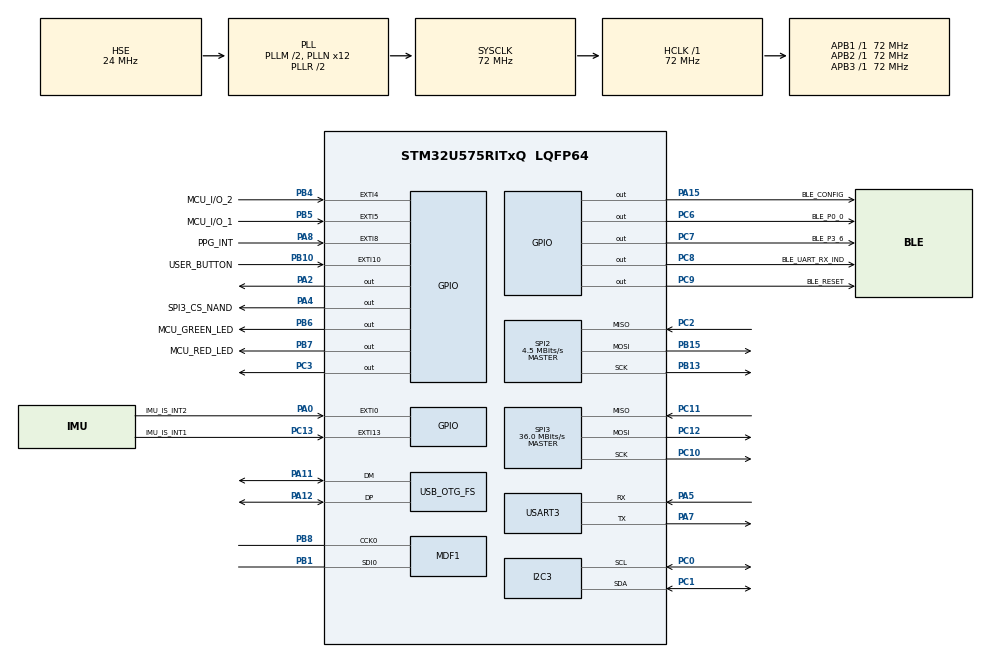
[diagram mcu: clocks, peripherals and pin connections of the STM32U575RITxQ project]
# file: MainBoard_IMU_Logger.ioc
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CORTEX_M33_NS.userName=CORTEX_M33
I2C3.Timing=0x10808DD3
MDF1.MDF_COMPARAM_ActivationClockTrigger=ENABLE
MDF1.MDF_COMPARAM_ActivationOutputClock=ENABLE
MDF1.MDF_COMPARAM_Divider=5
MDF1.MDF_COMPARAM_Pins=MDF_OUTPUT_CLOCK_ALL
MDF1.MDF_DFLT0_AcquisitionMode=MDF_MODE_SYNC_CONT
MDF1.MDF_DFLT0_CIC_Mode=MDF_ONE_FILTER_SINC5
MDF1.MDF_DFLT0_Decimation=16
MDF1.MDF_DFLT0_DiscardSamples=255
MDF1.MDF_DFLT0_Gain=1
MDF1.MDF_DFLT0_HighPassFilterActivation=ENABLE
MDF1.MDF_DFLT0_ReshapeFilterActivation=ENABLE
MDF1.MDF_SITF0_Mode_Display=MDF_SITF_NORMAL_SPI_MODE
MDF1.MDF_SITF0_Threshold=31
Mcu.Family=STM32U5
Mcu.Name=STM32U575RITxQ
Mcu.Package=LQFP64
NVIC.EXTI0_IRQn=true\:0\:0\:false\:false\:true\:true\:true\:true
NVIC.EXTI10_IRQn=true\:0\:0\:false\:false\:true\:true\:true\:true
NVIC.EXTI13_IRQn=true\:0\:0\:false\:false\:true\:true\:true\:true
NVIC.EXTI4_IRQn=true\:0\:0\:false\:false\:true\:true\:true\:true
NVIC.EXTI5_IRQn=true\:0\:0\:false\:false\:true\:true\:true\:true
NVIC.EXTI8_IRQn=true\:0\:0\:false\:false\:true\:true\:true\:true
NVIC.MDF1_FLT0_IRQn=true\:0\:0\:false\:false\:true\:true\:true\:true
NVIC.OTG_FS_IRQn=true\:0\:0\:false\:false\:true\:true\:true\:true
NVIC.PriorityGroup=NVIC_PRIORITYGROUP_4
NVIC.SPI2_IRQn=true\:0\:0\:false\:false\:true\:true\:true\:true
NVIC.SPI3_IRQn=true\:0\:0\:false\:false\:true\:true\:true\:true
NVIC.TIM2_IRQn=true\:2\:0\:true\:false\:true\:true\:true\:true
NVIC.USART3_IRQn=true\:0\:0\:false\:false\:true\:true\:true\:true
PA0.GPIO_Label=IMU_IS_INT2
PA0.Signal=GPXTI0
PA11.GPIO_Speed=GPIO_SPEED_FREQ_VERY_HIGH
PA11.Mode=Device_Only
PA11.Signal=USB_OTG_FS_DM
PA12.GPIO_Speed=GPIO_SPEED_FREQ_VERY_HIGH
PA12.Mode=Device_Only
PA12.Signal=USB_OTG_FS_DP
PA13\ (JTMS/SWDIO).Mode=Trace_Asynchronous_SW
PA13\ (JTMS/SWDIO).Signal=DEBUG_JTMS-SWDIO
PA14\ (JTCK/SWCLK).Mode=Trace_Asynchronous_SW
PA14\ (JTCK/SWCLK).Signal=DEBUG_JTCK-SWCLK
PA15\ (JTDI).GPIO_Label=BLE_CONFIG
PA15\ (JTDI).PinState=GPIO_PIN_SET
PA15\ (JTDI).Signal=GPIO_Output
PA2.Signal=GPIO_Output
PA4.GPIO_Label=SPI3_CS_NAND
PA4.Signal=GPIO_Output
PA5.Mode=Asynchronous
PA5.Signal=USART3_RX
PA7.Mode=Asynchronous
PA7.Signal=USART3_TX
PA8.GPIO_Label=PPG_INT
PA8.GPIO_ModeDefaultEXTI=GPIO_MODE_IT_FALLING
PA8.GPIO_PuPd=GPIO_PULLUP
PA8.Signal=GPXTI8
PA9.Signal=USB_OTG_FS_VBUS
PB1.GPIO_Speed=GPIO_SPEED_FREQ_VERY_HIGH
PB1.Mode=MOD_MDF_SITF0_CCK0
PB1.Signal=MDF1_SDI0
PB10.GPIO_Label=USER_BUTTON
PB10.GPIO_ModeDefaultEXTI=GPIO_MODE_IT_RISING_FALLING
PB10.GPIO_PuPd=GPIO_PULLDOWN
PB10.Signal=GPXTI10
PB13.Mode=Full_Duplex_Master
PB13.Signal=SPI2_SCK
PB15.Mode=Full_Duplex_Master
PB15.Signal=SPI2_MOSI
PB3\ (JTDO/TRACESWO).Mode=Trace_Asynchronous_SW
PB3\ (JTDO/TRACESWO).Signal=DEBUG_JTDO-SWO
PB4\ (NJTRST).GPIO_Label=MCU_I/O_2
PB4\ (NJTRST).Signal=GPXTI4
PB5.GPIO_Label=MCU_I/O_1
PB5.Signal=GPXTI5
PB6.GPIO_Label=MCU_GREEN_LED
PB6.Signal=GPIO_Output
PB7.GPIO_Label=MCU_RED_LED
PB7.Signal=GPIO_Output
PB8.GPIO_FM8=SYSCFG_FASTMODEPLUS_PB8
PB8.GPIO_Speed=GPIO_SPEED_FREQ_VERY_HIGH
PB8.Mode=MOD_MDF_CCK0
PB8.Signal=MDF1_CCK0
PC0.Mode=I2C
PC0.Signal=I2C3_SCL
PC1.Mode=I2C
PC1.Signal=I2C3_SDA
PC10.Mode=Full_Duplex_Master
PC10.Signal=SPI3_SCK
PC11.Mode=Full_Duplex_Master
PC11.Signal=SPI3_MISO
PC12.Mode=Full_Duplex_Master
PC12.Signal=SPI3_MOSI
PC13.GPIO_Label=IMU_IS_INT1
PC13.Signal=GPXTI13
PC14-OSC32_IN\ (PC14).Mode=LSE-External-Oscillator
PC14-OSC32_IN\ (PC14).Signal=RCC_OSC32_IN
PC15-OSC32_OUT\ (PC15).Mode=LSE-External-Oscillator
PC15-OSC32_OUT\ (PC15).Signal=RCC_OSC32_OUT
PC2.Mode=Full_Duplex_Master
PC2.Signal=SPI2_MISO
PC3.Signal=GPIO_Output
PC6.GPIO_Label=BLE_P0_0
PC6.Signal=GPIO_Output
PC7.GPIO_Label=BLE_P3_6
PC7.Signal=GPIO_Output
PC8.GPIO_Label=BLE_UART_RX_IND
PC8.Signal=GPIO_Output
PC9.GPIO_Label=BLE_RESET
PC9.Signal=GPIO_Output
PH0-OSC_IN\ (PH0).Mode=HSE-External-Oscillator
PH0-OSC_IN\ (PH0).Signal=RCC_OSC_IN
PH1-OSC_OUT\ (PH1).Mode=HSE-External-Oscillator
PH1-OSC_OUT\ (PH1).Signal=RCC_OSC_OUT
ProjectManager.HeapSize=0x400
ProjectManager.StackSize=0x800
ProjectManager.TargetToolchain=CMake
RCC.ADCFreq_Value=16000000
RCC.AHBFreq_Value=72000000
RCC.APB1Freq_Value=72000000
RCC.APB1TimFreq_Value=72000000
RCC.APB2Freq_Value=72000000
RCC.APB2TimFreq_Value=72000000
RCC.APB3Freq_Value=72000000
RCC.CK48CLockSelection=RCC_CLK48CLKSOURCE_PLL1
RCC.CortexFreq_Value=72000000
RCC.EPOD_VALUE=24000000
RCC.HCLKFreq_Value=72000000
RCC.HSE_VALUE=24000000
RCC.HSI48_VALUE=48000000
RCC.HSI_VALUE=16000000
RCC.LSIDIV_VALUE=32000
RCC.MSIClockRange=RCC_MSIRANGE_0
RCC.MSI_VALUE=48000000
RCC.MdfClockSelection=RCC_MDF1CLKSOURCE_PLL3
RCC.PLL1Q=3
RCC.PLL2FRACN=0
RCC.PLL3FRACN=0
RCC.PLL3M=3
RCC.PLL3N=48
RCC.PLL3Q=25
RCC.PLL3Source=RCC_PLLSOURCE_HSE
RCC.PLLFRACN=0
RCC.PLLM=2
RCC.PLLN=12
RCC.PLLSourceVirtual=RCC_PLLSOURCE_HSE
RCC.SYSCLKFreq_VALUE=72000000
RCC.SYSCLKSource=RCC_SYSCLKSOURCE_PLLCLK
RCC.USBFreq_Value=48000000
RCC.VCOOutputFreq_Value=144000000
SPI2.BaudRatePrescaler=SPI_BAUDRATEPRESCALER_16
SPI2.CalculateBaudRate=4.5 MBits/s
SPI2.DataSize=SPI_DATASIZE_8BIT
SPI2.Direction=SPI_DIRECTION_2LINES
SPI2.Mode=SPI_MODE_MASTER
SPI2.VirtualType=VM_MASTER
SPI3.CalculateBaudRate=36.0 MBits/s
SPI3.Direction=SPI_DIRECTION_2LINES
SPI3.Mode=SPI_MODE_MASTER
SPI3.VirtualType=VM_MASTER
TIM2.PeriodNoDither=1000-1
TIM2.Prescaler=7200-1
USART3.VirtualMode-Asynchronous=VM_ASYNC
USB_OTG_FS.VirtualMode=Device_Only
VP_ICACHE_VS_ENABLE_ICACHE_MEMORY.Mode=Memoryregions
VP_LPBAMQUEUE_VS_QUEUE.Mode=QUEUEMODE
VP_LPBAM_VS_SIG1.Mode=SmartRun
VP_LPBAM_VS_SIG4.Mode=LPDMA1
VP_MDF1_VS_MDF_DFLT0.Mode=MOD_MDF_DFLT0
VP_MEMORYMAP_VS_MEMORYMAP.Mode=CurAppReg
VP_PWR_VS_SECSignals.Mode=Security/Privilege
VP_TIM2_VS_ClockSourceINT.Mode=Internal
board=custom

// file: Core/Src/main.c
/* USER CODE BEGIN Header */
/**
  ******************************************************************************
  * @file           : main.c
  * @brief          : Main application file for MainBoard_IMU_Logger project.
  ******************************************************************************
  * @functionality  : This firmware implements a complete Data Logger for the on board IMU.
  * @details        : The application operates using a State Machine triggered by a
  * single USER BUTTON. It performs three primary tasks:
  * 1. Real-time Acquisition: Reads Accelerometer/Gyroscope data
  * via I2C, synchronized by a TIM2 interrupt.
  * 2. Wireless Transmission: Sends data packets via Bluetooth Low Energy (BLE)
  * using the UART interface.
  * 3. Data Logging: Saves acquired data to NAND Flash memory.
  *
  * Saved data can be downloaded via a USB Virtual COM Port (VCP)
  * connection, also initiated by the USER BUTTON.
  *
  * @intended_use   : Starting template for Smart Wearables Course
  * exploring IMU interfacing, BLE communication, and memory management.
  ******************************************************************************
  */
/* USER CODE END Header */
#include "main.h"

/* USER CODE BEGIN Includes */
#include "string.h"
#include "stdio.h"
#include "../../USB_Device/App/usb_device.h"
#include "SPI.h"
#include "SPI_NAND.h"
#include "Memory_operations.h"
#include "led_driver.h"
#include "imu_driver.h"
#include "bluetooth.h"
#include "bio_sensors/app/bio_sensors_app.h"

/* USER CODE END Includes */

I2C_HandleTypeDef hi2c3;

MDF_HandleTypeDef MdfHandle0;
MDF_FilterConfigTypeDef MdfFilterConfig0;

SPI_HandleTypeDef hspi2;
SPI_HandleTypeDef hspi3;

TIM_HandleTypeDef htim2;

UART_HandleTypeDef huart3;

PCD_HandleTypeDef hpcd_USB_OTG_FS;

/* USER CODE BEGIN PV */

// --- State Machine ---
// The current state of the application. Initial state is IDLE.
static AppState current_state = STATE_IDLE;

// --- Global Flags and Variables ---
// Flag to indicate a USB connection event.
// Set to 1 when a USB connection is detected.
uint8_t usb_flag = 0;
uint8_t raw_accelerometer[6] = {0};
uint8_t raw_gyroscope[6] = {0};

/// ----- NAND FLASH variables ----- ///

uint8_t NAND_packet[4096] = {0};
uint16_t sample = 0;
uint16_t blocco_scritto = 0;
uint8_t pagina_scritta=0;
uint16_t b = 0;

read_address_t blocco;
column_address_t colonna = 0;

uint16_t bad_blocks[2048]={-1}; // bad blocks array for writing/reading
uint8_t bad_blocks2[2048]={0}; // bad blocks array for erasing

uint8_t data_letto[4096] = {0};
int exit_flag = 0;

// Timestamp variables //
Time_Struct timestamp;
uint16_t tim = 0;

/* USER CODE END PV */

void SystemClock_Config(void);
static void MX_GPIO_Init(void);
static void MX_ICACHE_Init(void);
static void MX_I2C3_Init(void);
static void MX_USART3_UART_Init(void);
static void MX_USB_OTG_FS_PCD_Init(void);
static void MX_MDF1_Init(void);
static void MX_TIM2_Init(void);
static void MX_SPI2_Init(void);
static void MX_SPI3_Init(void);

int main(void)
{

  /* MCU Configuration--------------------------------------------------------*/

  /* Reset of all peripherals, Initializes the Flash interface and the Systick. */
  HAL_Init();

  /* Configure the system clock */
  SystemClock_Config();

  /* Initialize all configured peripherals */
  MX_GPIO_Init();
  MX_ICACHE_Init();
  MX_I2C3_Init();
  MX_USART3_UART_Init();
  MX_USB_OTG_FS_PCD_Init();
  MX_MDF1_Init();
  MX_TIM2_Init();
  MX_SPI2_Init();
  MX_SPI3_Init();
  /* USER CODE BEGIN 2 */

  // Turn the RED LED on to indicate the start of the initialization process
  LED_On(LED_RED);

  // Initialize all hardware peripherals (ble, usb, nand flash, imu)
  BLE_Initialize();
  MX_USB_Device_Init();
  HAL_Delay(1000);

  spi_nand_init();
  find_bad_blocks(bad_blocks); // find bad_blocks and save them

  // Initializing all Bio sensors
  BioSensors_InitCpp();

  // Turn off the red LED to indicate that initialization is complete
  LED_Off(LED_RED);

  /* USER CODE END 2 */

  /* Infinite loop */
  while (1)
  {

    /* USER CODE BEGIN 3 */

    // Trying to update the Bio sensor data
    BioSensors_LoopCpp();

		//LED_Toggle(LED_GREEN);
		//HAL_Delay(1000);

	  switch(current_state)
	  {
	  	  case STATE_IDLE:
	  		// Check if a USB connection has been detected
	  		if(!usb_flag)
		    {
	  			//MX_USB_Device_Init();
		    }
	  		else
	  		{
			   // Transition to the USB_CONNECTED state
	  		   current_state = STATE_USB_CONNECTED;
			   // Green LED on upon USB Connection
			   LED_On(LED_GREEN);
		    }
	  		break;

	  	  case STATE_ACQUISITION:
	  		   // All data acquisition is handled by the timer interrupt

			break;

	  	  case STATE_USB_CONNECTED:
	  		break;

	  	  case STATE_DOWNLOAD:

	  		   // This state manages reading data blocks and sending them via USB.
	  		  // Once download is complete, the state returns to USB_CONNECTED.
	  		  // Read data packets from memory
	  		  read_memory_and_transmit();

			 current_state = STATE_USB_CONNECTED;
	  		 break;
	  }

  }
  /* USER CODE END 3 */
}

void SystemClock_Config(void)
{
  RCC_OscInitTypeDef RCC_OscInitStruct = {0};
  RCC_ClkInitTypeDef RCC_ClkInitStruct = {0};

  /** Configure the main internal regulator output voltage
  */
  if (HAL_PWREx_ControlVoltageScaling(PWR_REGULATOR_VOLTAGE_SCALE2) != HAL_OK)
  {
    Error_Handler();
  }

  /** Initializes the CPU, AHB and APB buses clocks
  */
  RCC_OscInitStruct.OscillatorType = RCC_OSCILLATORTYPE_HSE;
  RCC_OscInitStruct.HSEState = RCC_HSE_ON;
  RCC_OscInitStruct.PLL.PLLState = RCC_PLL_ON;
  RCC_OscInitStruct.PLL.PLLSource = RCC_PLLSOURCE_HSE;
  RCC_OscInitStruct.PLL.PLLMBOOST = RCC_PLLMBOOST_DIV2;
  RCC_OscInitStruct.PLL.PLLM = 2;
  RCC_OscInitStruct.PLL.PLLN = 12;
  RCC_OscInitStruct.PLL.PLLP = 2;
  RCC_OscInitStruct.PLL.PLLQ = 3;
  RCC_OscInitStruct.PLL.PLLR = 2;
  RCC_OscInitStruct.PLL.PLLRGE = RCC_PLLVCIRANGE_1;
  RCC_OscInitStruct.PLL.PLLFRACN = 0;
  if (HAL_RCC_OscConfig(&RCC_OscInitStruct) != HAL_OK)
  {
    Error_Handler();
  }

  /** Initializes the CPU, AHB and APB buses clocks
  */
  RCC_ClkInitStruct.ClockType = RCC_CLOCKTYPE_HCLK|RCC_CLOCKTYPE_SYSCLK
                              |RCC_CLOCKTYPE_PCLK1|RCC_CLOCKTYPE_PCLK2
                              |RCC_CLOCKTYPE_PCLK3;
  RCC_ClkInitStruct.SYSCLKSource = RCC_SYSCLKSOURCE_PLLCLK;
  RCC_ClkInitStruct.AHBCLKDivider = RCC_SYSCLK_DIV1;
  RCC_ClkInitStruct.APB1CLKDivider = RCC_HCLK_DIV1;
  RCC_ClkInitStruct.APB2CLKDivider = RCC_HCLK_DIV1;
  RCC_ClkInitStruct.APB3CLKDivider = RCC_HCLK_DIV1;

  if (HAL_RCC_ClockConfig(&RCC_ClkInitStruct, FLASH_LATENCY_2) != HAL_OK)
  {
    Error_Handler();
  }
}

static void MX_I2C3_Init(void)
{

  hi2c3.Instance = I2C3;
  hi2c3.Init.Timing = 0x10808DD3;
  hi2c3.Init.OwnAddress1 = 0;
  hi2c3.Init.AddressingMode = I2C_ADDRESSINGMODE_7BIT;
  hi2c3.Init.DualAddressMode = I2C_DUALADDRESS_DISABLE;
  hi2c3.Init.OwnAddress2 = 0;
  hi2c3.Init.OwnAddress2Masks = I2C_OA2_NOMASK;
  hi2c3.Init.GeneralCallMode = I2C_GENERALCALL_DISABLE;
  hi2c3.Init.NoStretchMode = I2C_NOSTRETCH_DISABLE;
  if (HAL_I2C_Init(&hi2c3) != HAL_OK)
  {
    Error_Handler();
  }

  /** Configure Analogue filter
  */
  if (HAL_I2CEx_ConfigAnalogFilter(&hi2c3, I2C_ANALOGFILTER_ENABLE) != HAL_OK)
  {
    Error_Handler();
  }

  /** Configure Digital filter
  */
  if (HAL_I2CEx_ConfigDigitalFilter(&hi2c3, 0) != HAL_OK)
  {
    Error_Handler();
  }

}

static void MX_ICACHE_Init(void)
{

}

static void MX_MDF1_Init(void)
{

  /**
    MdfHandle0 structure initialization and HAL_MDF_Init function call
  */
  MdfHandle0.Instance = MDF1_Filter0;
  MdfHandle0.Init.CommonParam.InterleavedFilters = 0;
  MdfHandle0.Init.CommonParam.ProcClockDivider = 1;
  MdfHandle0.Init.CommonParam.OutputClock.Activation = ENABLE;
  MdfHandle0.Init.CommonParam.OutputClock.Pins = MDF_OUTPUT_CLOCK_ALL;
  MdfHandle0.Init.CommonParam.OutputClock.Divider = 5;
  MdfHandle0.Init.CommonParam.OutputClock.Trigger.Activation = ENABLE;
  MdfHandle0.Init.CommonParam.OutputClock.Trigger.Source = MDF_CLOCK_TRIG_TRGO;
  MdfHandle0.Init.CommonParam.OutputClock.Trigger.Edge = MDF_CLOCK_TRIG_FALLING_EDGE;
  MdfHandle0.Init.SerialInterface.Activation = ENABLE;
  MdfHandle0.Init.SerialInterface.Mode = MDF_SITF_NORMAL_SPI_MODE;
  MdfHandle0.Init.SerialInterface.ClockSource = MDF_SITF_CCK0_SOURCE;
  MdfHandle0.Init.SerialInterface.Threshold = 31;
  MdfHandle0.Init.FilterBistream = MDF_BITSTREAM0_RISING;
  if (HAL_MDF_Init(&MdfHandle0) != HAL_OK)
  {
    Error_Handler();
  }

  /**
    MdfFilterConfig0, MdfOldConfig0 and/or MdfScdConfig0 structures initialization

    WARNING : only structures are filled, no specific init function call for filter
  */
  MdfFilterConfig0.DataSource = MDF_DATA_SOURCE_BSMX;
  MdfFilterConfig0.Delay = 0;
  MdfFilterConfig0.CicMode = MDF_ONE_FILTER_SINC5;
  MdfFilterConfig0.DecimationRatio = 16;
  MdfFilterConfig0.Offset = 0;
  MdfFilterConfig0.Gain = 1;
  MdfFilterConfig0.ReshapeFilter.Activation = ENABLE;
  MdfFilterConfig0.ReshapeFilter.DecimationRatio = MDF_RSF_DECIMATION_RATIO_4;
  MdfFilterConfig0.HighPassFilter.Activation = ENABLE;
  MdfFilterConfig0.HighPassFilter.CutOffFrequency = MDF_HPF_CUTOFF_0_000625FPCM;
  MdfFilterConfig0.Integrator.Activation = DISABLE;
  MdfFilterConfig0.SoundActivity.Activation = DISABLE;
  MdfFilterConfig0.AcquisitionMode = MDF_MODE_SYNC_CONT;
  MdfFilterConfig0.FifoThreshold = MDF_FIFO_THRESHOLD_NOT_EMPTY;
  MdfFilterConfig0.DiscardSamples = 255;
  MdfFilterConfig0.Trigger.Source = MDF_CLOCK_TRIG_TRGO;
  MdfFilterConfig0.Trigger.Edge = MDF_FILTER_TRIG_RISING_EDGE;

}

static void MX_SPI2_Init(void)
{

  SPI_AutonomousModeConfTypeDef HAL_SPI_AutonomousMode_Cfg_Struct = {0};

  /* SPI2 parameter configuration*/
  hspi2.Instance = SPI2;
  hspi2.Init.Mode = SPI_MODE_MASTER;
  hspi2.Init.Direction = SPI_DIRECTION_2LINES;
  hspi2.Init.DataSize = SPI_DATASIZE_8BIT;
  hspi2.Init.CLKPolarity = SPI_POLARITY_LOW;
  hspi2.Init.CLKPhase = SPI_PHASE_1EDGE;
  hspi2.Init.NSS = SPI_NSS_SOFT;
  hspi2.Init.BaudRatePrescaler = SPI_BAUDRATEPRESCALER_16;
  hspi2.Init.FirstBit = SPI_FIRSTBIT_MSB;
  hspi2.Init.TIMode = SPI_TIMODE_DISABLE;
  hspi2.Init.CRCCalculation = SPI_CRCCALCULATION_DISABLE;
  hspi2.Init.CRCPolynomial = 0x7;
  hspi2.Init.NSSPMode = SPI_NSS_PULSE_ENABLE;
  hspi2.Init.NSSPolarity = SPI_NSS_POLARITY_LOW;
  hspi2.Init.FifoThreshold = SPI_FIFO_THRESHOLD_01DATA;
  hspi2.Init.MasterSSIdleness = SPI_MASTER_SS_IDLENESS_00CYCLE;
  hspi2.Init.MasterInterDataIdleness = SPI_MASTER_INTERDATA_IDLENESS_00CYCLE;
  hspi2.Init.MasterReceiverAutoSusp = SPI_MASTER_RX_AUTOSUSP_DISABLE;
  hspi2.Init.MasterKeepIOState = SPI_MASTER_KEEP_IO_STATE_DISABLE;
  hspi2.Init.IOSwap = SPI_IO_SWAP_DISABLE;
  hspi2.Init.ReadyMasterManagement = SPI_RDY_MASTER_MANAGEMENT_INTERNALLY;
  hspi2.Init.ReadyPolarity = SPI_RDY_POLARITY_HIGH;
  if (HAL_SPI_Init(&hspi2) != HAL_OK)
  {
    Error_Handler();
  }
  HAL_SPI_AutonomousMode_Cfg_Struct.TriggerState = SPI_AUTO_MODE_DISABLE;
  HAL_SPI_AutonomousMode_Cfg_Struct.TriggerSelection = SPI_GRP1_GPDMA_CH0_TCF_TRG;
  HAL_SPI_AutonomousMode_Cfg_Struct.TriggerPolarity = SPI_TRIG_POLARITY_RISING;
  if (HAL_SPIEx_SetConfigAutonomousMode(&hspi2, &HAL_SPI_AutonomousMode_Cfg_Struct) != HAL_OK)
  {
    Error_Handler();
  }

}

static void MX_SPI3_Init(void)
{

  SPI_AutonomousModeConfTypeDef HAL_SPI_AutonomousMode_Cfg_Struct = {0};

  /* SPI3 parameter configuration*/
  hspi3.Instance = SPI3;
  hspi3.Init.Mode = SPI_MODE_MASTER;
  hspi3.Init.Direction = SPI_DIRECTION_2LINES;
  hspi3.Init.DataSize = SPI_DATASIZE_8BIT;
  hspi3.Init.CLKPolarity = SPI_POLARITY_LOW;
  hspi3.Init.CLKPhase = SPI_PHASE_1EDGE;
  hspi3.Init.NSS = SPI_NSS_SOFT;
  hspi3.Init.BaudRatePrescaler = SPI_BAUDRATEPRESCALER_2;
  hspi3.Init.FirstBit = SPI_FIRSTBIT_MSB;
  hspi3.Init.TIMode = SPI_TIMODE_DISABLE;
  hspi3.Init.CRCCalculation = SPI_CRCCALCULATION_DISABLE;
  hspi3.Init.CRCPolynomial = 0x7;
  hspi3.Init.NSSPMode = SPI_NSS_PULSE_ENABLE;
  hspi3.Init.NSSPolarity = SPI_NSS_POLARITY_LOW;
  hspi3.Init.FifoThreshold = SPI_FIFO_THRESHOLD_01DATA;
  hspi3.Init.MasterSSIdleness = SPI_MASTER_SS_IDLENESS_00CYCLE;
  hspi3.Init.MasterInterDataIdleness = SPI_MASTER_INTERDATA_IDLENESS_00CYCLE;
  hspi3.Init.MasterReceiverAutoSusp = SPI_MASTER_RX_AUTOSUSP_DISABLE;
  hspi3.Init.MasterKeepIOState = SPI_MASTER_KEEP_IO_STATE_DISABLE;
  hspi3.Init.IOSwap = SPI_IO_SWAP_DISABLE;
  hspi3.Init.ReadyMasterManagement = SPI_RDY_MASTER_MANAGEMENT_INTERNALLY;
  hspi3.Init.ReadyPolarity = SPI_RDY_POLARITY_HIGH;
  if (HAL_SPI_Init(&hspi3) != HAL_OK)
  {
    Error_Handler();
  }
  HAL_SPI_AutonomousMode_Cfg_Struct.TriggerState = SPI_AUTO_MODE_DISABLE;
  HAL_SPI_AutonomousMode_Cfg_Struct.TriggerSelection = SPI_GRP2_LPDMA_CH0_TCF_TRG;
  HAL_SPI_AutonomousMode_Cfg_Struct.TriggerPolarity = SPI_TRIG_POLARITY_RISING;
  if (HAL_SPIEx_SetConfigAutonomousMode(&hspi3, &HAL_SPI_AutonomousMode_Cfg_Struct) != HAL_OK)
  {
    Error_Handler();
  }

}

static void MX_TIM2_Init(void)
{

  TIM_ClockConfigTypeDef sClockSourceConfig = {0};
  TIM_MasterConfigTypeDef sMasterConfig = {0};

  htim2.Instance = TIM2;
  htim2.Init.Prescaler = 7200-1;
  htim2.Init.CounterMode = TIM_COUNTERMODE_UP;
  htim2.Init.Period = 999;
  htim2.Init.ClockDivision = TIM_CLOCKDIVISION_DIV1;
  htim2.Init.AutoReloadPreload = TIM_AUTORELOAD_PRELOAD_DISABLE;
  if (HAL_TIM_Base_Init(&htim2) != HAL_OK)
  {
    Error_Handler();
  }
  sClockSourceConfig.ClockSource = TIM_CLOCKSOURCE_INTERNAL;
  if (HAL_TIM_ConfigClockSource(&htim2, &sClockSourceConfig) != HAL_OK)
  {
    Error_Handler();
  }
  sMasterConfig.MasterOutputTrigger = TIM_TRGO_RESET;
  sMasterConfig.MasterSlaveMode = TIM_MASTERSLAVEMODE_DISABLE;
  if (HAL_TIMEx_MasterConfigSynchronization(&htim2, &sMasterConfig) != HAL_OK)
  {
    Error_Handler();
  }

}

static void MX_USART3_UART_Init(void)
{

  huart3.Instance = USART3;
  huart3.Init.BaudRate = 115200;
  huart3.Init.WordLength = UART_WORDLENGTH_8B;
  huart3.Init.StopBits = UART_STOPBITS_1;
  huart3.Init.Parity = UART_PARITY_NONE;
  huart3.Init.Mode = UART_MODE_TX_RX;
  huart3.Init.HwFlowCtl = UART_HWCONTROL_NONE;
  huart3.Init.OverSampling = UART_OVERSAMPLING_16;
  huart3.Init.OneBitSampling = UART_ONE_BIT_SAMPLE_DISABLE;
  huart3.Init.ClockPrescaler = UART_PRESCALER_DIV1;
  huart3.AdvancedInit.AdvFeatureInit = UART_ADVFEATURE_NO_INIT;
  if (HAL_UART_Init(&huart3) != HAL_OK)
  {
    Error_Handler();
  }
  if (HAL_UARTEx_SetTxFifoThreshold(&huart3, UART_TXFIFO_THRESHOLD_1_8) != HAL_OK)
  {
    Error_Handler();
  }
  if (HAL_UARTEx_SetRxFifoThreshold(&huart3, UART_RXFIFO_THRESHOLD_1_8) != HAL_OK)
  {
    Error_Handler();
  }
  if (HAL_UARTEx_DisableFifoMode(&huart3) != HAL_OK)
  {
    Error_Handler();
  }

}

static void MX_USB_OTG_FS_PCD_Init(void)
{

  hpcd_USB_OTG_FS.Instance = USB_OTG_FS;
  hpcd_USB_OTG_FS.Init.dev_endpoints = 6;
  hpcd_USB_OTG_FS.Init.speed = PCD_SPEED_FULL;
  hpcd_USB_OTG_FS.Init.phy_itface = PCD_PHY_EMBEDDED;
  hpcd_USB_OTG_FS.Init.Sof_enable = DISABLE;
  hpcd_USB_OTG_FS.Init.low_power_enable = DISABLE;
  hpcd_USB_OTG_FS.Init.lpm_enable = DISABLE;
  hpcd_USB_OTG_FS.Init.battery_charging_enable = DISABLE;
  hpcd_USB_OTG_FS.Init.use_dedicated_ep1 = DISABLE;
  hpcd_USB_OTG_FS.Init.vbus_sensing_enable = DISABLE;
  hpcd_USB_OTG_FS.Init.dma_enable = DISABLE;
  if (HAL_PCD_Init(&hpcd_USB_OTG_FS) != HAL_OK)
  {
    Error_Handler();
  }

}

static void MX_GPIO_Init(void)
{
  GPIO_InitTypeDef GPIO_InitStruct = {0};

  /* GPIO Ports Clock Enable */
  __HAL_RCC_GPIOC_CLK_ENABLE();
  __HAL_RCC_GPIOH_CLK_ENABLE();
  __HAL_RCC_GPIOA_CLK_ENABLE();
  __HAL_RCC_GPIOB_CLK_ENABLE();

  /*Configure GPIO pin Output Level */
  HAL_GPIO_WritePin(GPIOC, GPIO_PIN_3|BLE_P0_0_Pin|BLE_P3_6_Pin|BLE_UART_RX_IND_Pin
                          |BLE_RESET_Pin, GPIO_PIN_RESET);

  /*Configure GPIO pin Output Level */
  HAL_GPIO_WritePin(GPIOA, GPIO_PIN_2|SPI3_CS_NAND_Pin, GPIO_PIN_RESET);

  /*Configure GPIO pin Output Level */
  HAL_GPIO_WritePin(BLE_CONFIG_GPIO_Port, BLE_CONFIG_Pin, GPIO_PIN_SET);

  /*Configure GPIO pin Output Level */
  HAL_GPIO_WritePin(GPIOB, MCU_GREEN_LED_Pin|MCU_RED_LED_Pin, GPIO_PIN_RESET);

  /*Configure GPIO pin : IMU_IS_INT1_Pin */
  GPIO_InitStruct.Pin = IMU_IS_INT1_Pin;
  GPIO_InitStruct.Mode = GPIO_MODE_IT_RISING;
  GPIO_InitStruct.Pull = GPIO_NOPULL;
  HAL_GPIO_Init(IMU_IS_INT1_GPIO_Port, &GPIO_InitStruct);

  /*Configure GPIO pins : PC3 BLE_P0_0_Pin BLE_P3_6_Pin BLE_UART_RX_IND_Pin
                           BLE_RESET_Pin */
  GPIO_InitStruct.Pin = GPIO_PIN_3|BLE_P0_0_Pin|BLE_P3_6_Pin|BLE_UART_RX_IND_Pin
                          |BLE_RESET_Pin;
  GPIO_InitStruct.Mode = GPIO_MODE_OUTPUT_PP;
  GPIO_InitStruct.Pull = GPIO_NOPULL;
  GPIO_InitStruct.Speed = GPIO_SPEED_FREQ_LOW;
  HAL_GPIO_Init(GPIOC, &GPIO_InitStruct);

  /*Configure GPIO pin : IMU_IS_INT2_Pin */
  GPIO_InitStruct.Pin = IMU_IS_INT2_Pin;
  GPIO_InitStruct.Mode = GPIO_MODE_IT_RISING;
  GPIO_InitStruct.Pull = GPIO_NOPULL;
  HAL_GPIO_Init(IMU_IS_INT2_GPIO_Port, &GPIO_InitStruct);

  /*Configure GPIO pins : PA2 SPI3_CS_NAND_Pin BLE_CONFIG_Pin */
  GPIO_InitStruct.Pin = GPIO_PIN_2|SPI3_CS_NAND_Pin|BLE_CONFIG_Pin;
  GPIO_InitStruct.Mode = GPIO_MODE_OUTPUT_PP;
  GPIO_InitStruct.Pull = GPIO_NOPULL;
  GPIO_InitStruct.Speed = GPIO_SPEED_FREQ_LOW;
  HAL_GPIO_Init(GPIOA, &GPIO_InitStruct);

  /*Configure GPIO pin : USER_BUTTON_Pin */
  GPIO_InitStruct.Pin = USER_BUTTON_Pin;
  GPIO_InitStruct.Mode = GPIO_MODE_IT_RISING_FALLING;
  GPIO_InitStruct.Pull = GPIO_PULLDOWN;
  HAL_GPIO_Init(USER_BUTTON_GPIO_Port, &GPIO_InitStruct);

  /*Configure GPIO pin : PPG_INT_Pin */
  GPIO_InitStruct.Pin = PPG_INT_Pin;
  GPIO_InitStruct.Mode = GPIO_MODE_IT_FALLING;
  GPIO_InitStruct.Pull = GPIO_PULLUP;
  HAL_GPIO_Init(PPG_INT_GPIO_Port, &GPIO_InitStruct);

  /*Configure GPIO pins : MCU_I_O_2_Pin MCU_I_O_1_Pin */
  GPIO_InitStruct.Pin = MCU_I_O_2_Pin|MCU_I_O_1_Pin;
  GPIO_InitStruct.Mode = GPIO_MODE_IT_RISING;
  GPIO_InitStruct.Pull = GPIO_NOPULL;
  HAL_GPIO_Init(GPIOB, &GPIO_InitStruct);

  /*Configure GPIO pins : MCU_GREEN_LED_Pin MCU_RED_LED_Pin */
  GPIO_InitStruct.Pin = MCU_GREEN_LED_Pin|MCU_RED_LED_Pin;
  GPIO_InitStruct.Mode = GPIO_MODE_OUTPUT_PP;
  GPIO_InitStruct.Pull = GPIO_NOPULL;
  GPIO_InitStruct.Speed = GPIO_SPEED_FREQ_LOW;
  HAL_GPIO_Init(GPIOB, &GPIO_InitStruct);

  /* EXTI interrupt init*/
  HAL_NVIC_SetPriority(EXTI0_IRQn, 0, 0);
  HAL_NVIC_EnableIRQ(EXTI0_IRQn);

  HAL_NVIC_SetPriority(EXTI4_IRQn, 0, 0);
  HAL_NVIC_EnableIRQ(EXTI4_IRQn);

  HAL_NVIC_SetPriority(EXTI5_IRQn, 0, 0);
  HAL_NVIC_EnableIRQ(EXTI5_IRQn);

  HAL_NVIC_SetPriority(EXTI8_IRQn, 0, 0);
  HAL_NVIC_EnableIRQ(EXTI8_IRQn);

  HAL_NVIC_SetPriority(EXTI10_IRQn, 0, 0);
  HAL_NVIC_EnableIRQ(EXTI10_IRQn);

  HAL_NVIC_SetPriority(EXTI13_IRQn, 0, 0);
  HAL_NVIC_EnableIRQ(EXTI13_IRQn);

}

/* USER CODE BEGIN 4 */
/**
  * @brief  Callback function for the timer period elapsed event.
  * This function is triggered by a hardware timer at a fixed interval.
  * @param  htim: Pointer to the timer handle.
  */
void HAL_TIM_PeriodElapsedCallback(TIM_HandleTypeDef *htim)
{
	if(htim == &htim2){
    BioSensors_TimerCallbackCpp(); // Update Bio sensor data in the timer callback

    // // Save the raw accelerometer and gyroscope data in memory
    // // Create timestamp with sampling frequency @100 Hz
    // timestamp.sss=tim*10;
		// if(timestamp.sss == 1000) {
		// 	timestamp.ss=timestamp.ss+1;
		// 	timestamp.sss= 0;
		// 	tim = 0;
		// 	if (timestamp.ss==60){
		// 		timestamp.mm=timestamp.mm+1;
		// 		timestamp.ss=0;
		// 		if (timestamp.mm==60){
		// 			timestamp.hh=timestamp.hh+1;
		// 			timestamp.mm=0;
		// 		}
		// 	}
		// }

		// tim++;

		// // Create the data packet to be saved in memory
		// write_packet(sample, timestamp, raw_accelerometer, raw_gyroscope, NAND_packet);
		// sample++;
		// // Write data packet in memory
    //     write_memory();

	}
}

/**
  * @brief  Callback function for external interrupt events (e.g., a button press).
  * This function is triggered by the rising edge of the user button's signal.
  * @param  GPIO_Pin: The pin that triggered the interrupt.
  */
void HAL_GPIO_EXTI_Rising_Callback(uint16_t GPIO_Pin)
{
	if(GPIO_Pin == USER_BUTTON_Pin)
	{
		// A button press can trigger different state transitions depending on the current state.
		switch(current_state) {
			case STATE_IDLE:
				// If the device is idle, start data acquisition.
				erase_memory();
				current_state = STATE_ACQUISITION;
				HAL_TIM_Base_Start_IT(&htim2); // Start the timer for periodic data reading
				LED_On(LED_GREEN); // Provide visual feedback for starting acquisition
			break;
			case STATE_ACQUISITION:
				// If data acquisition is active, stop it.
				current_state = STATE_IDLE;
				HAL_TIM_Base_Stop_IT(&htim2); // Stop the timer
				LED_Off(LED_GREEN); // Turn off the LED
				break;
			case STATE_USB_CONNECTED:
				// If USB is connected, start the download process.
				exit_flag = 0;
				current_state = STATE_DOWNLOAD;
				break;
			default:
				// Do nothing for other states (e.g., if button is pressed during DOWNLOAD).
				break;
		}
	}
}

// Falling Edge when User Button is not pressed
void HAL_GPIO_EXTI_Falling_Callback(uint16_t GPIO_Pin)
{
  if (GPIO_Pin == USER_BUTTON_Pin) {

  } else if (GPIO_Pin == PPG_INT_Pin) {
    BioSensors_ExtiCpp();
  }
}

/* USER CODE END 4 */

void Error_Handler(void)
{
  __disable_irq();
  while (1)
  {
  }
}
